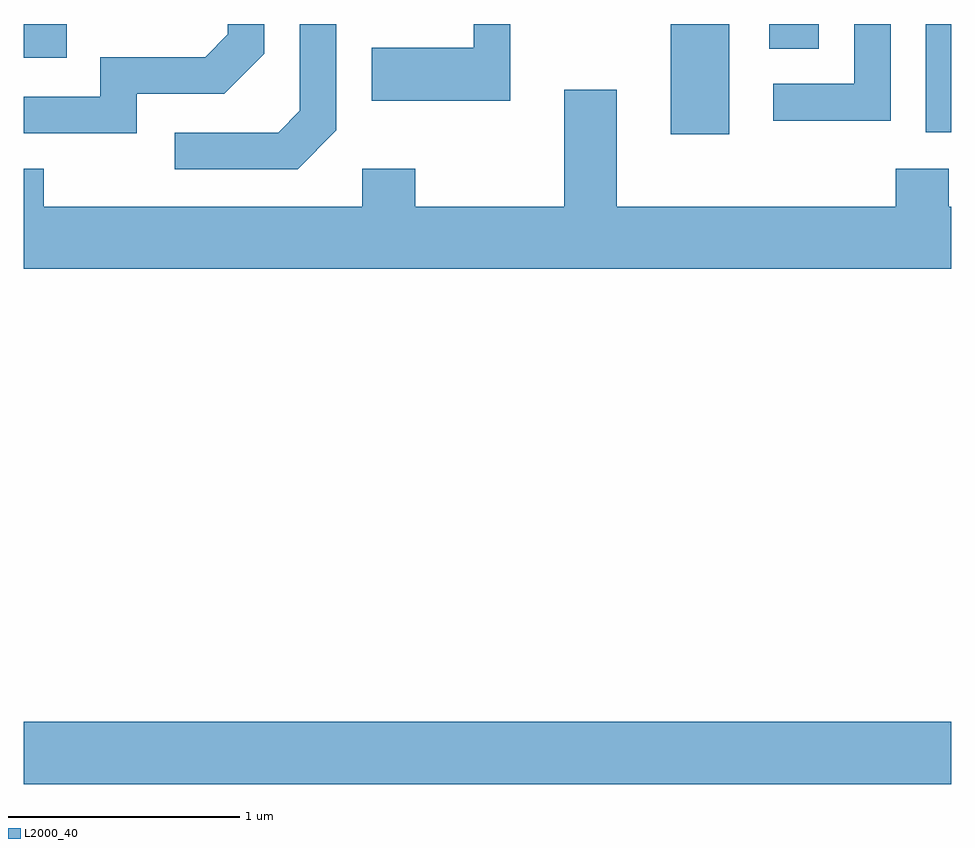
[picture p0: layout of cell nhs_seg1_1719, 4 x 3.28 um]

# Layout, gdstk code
import gdstk
lib = gdstk.Library(unit=1e-6, precision=1e-09)
def R(c, l, rs):  # rectangles x0, y0, x1, y1
    for r in rs: c.add(gdstk.rectangle(r[:2], r[2:], *l))
def P(c, l, *ps):  # polygons
    for p in ps: c.add(gdstk.Polygon(p, *l))
L2000_40 = (2000, 40)

nhs_seg1_1719 = lib.new_cell('nhs_seg1_1719')
R(nhs_seg1_1719, L2000_40, [(237.611,928.436,241.611,928.704), (240.401,931.236,240.654,931.712), (241.501,931.246,241.611,931.712), (237.611,931.566,237.798,931.712), (240.826,931.606,241.039,931.712)])
P(nhs_seg1_1719, L2000_40, [(239.709,931.712),(239.551,931.712),(239.551,931.609),(239.111,931.609),(239.111,931.381),(239.709,931.381)],
  [(241.349,931.712),(241.191,931.712),(241.191,931.454),(240.843,931.454),(240.843,931.296),(241.349,931.296)],
  [(238.099,931.411),(238.477,931.411),(238.649,931.584),(238.649,931.712),(238.491,931.712),(238.491,931.667),(238.394,931.569),(237.941,931.569),(237.941,931.399),(237.611,931.399),(237.611,931.241),(238.099,931.241)],
  [(238.959,931.254),(238.959,931.712),(238.801,931.712),(238.801,931.337),(238.709,931.244),(238.263,931.244),(238.263,931.086),(238.792,931.086)],
  [(241.611,930.924),(241.599,930.924),(241.599,931.089),(241.371,931.089),(241.371,930.924),(240.169,930.924),(240.169,931.429),(239.941,931.429),(239.941,930.924),(239.299,930.924),(239.299,931.089),(239.071,931.089),(239.071,930.924),(237.699,930.924),(237.699,931.089),(237.611,931.089),(237.611,930.656),(241.611,930.656)])

lib.write_gds('nhs_seg1_1719.gds')
